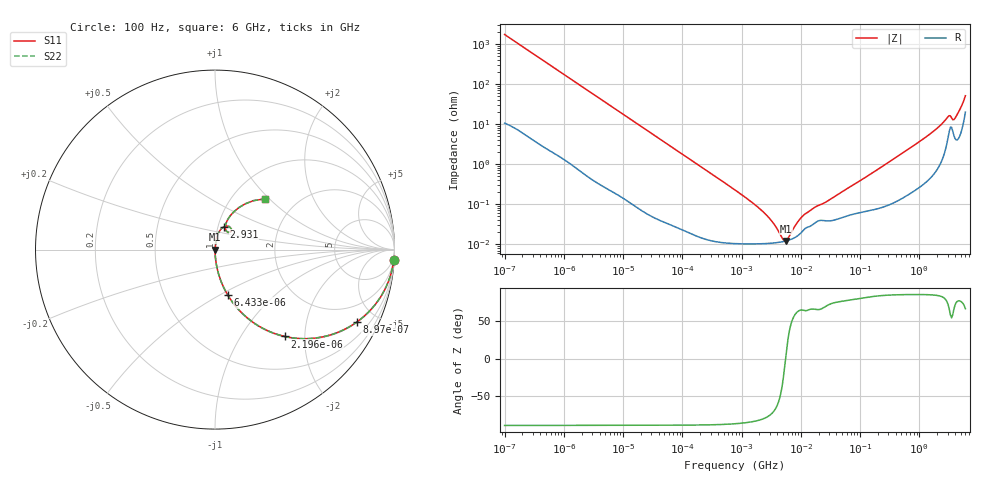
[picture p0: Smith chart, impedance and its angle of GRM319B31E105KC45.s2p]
!Murata Part Number: GRM319B31E105KC45
!These Parameters are Measured in Series Mode Connection
!Data Generated on Mar 30, 2021
!  o--ll--o
!Port1  Port2
!  o------o
!Operation Temp=25[degC], DC Bias Voltage=0[V]
!Freq. Start=100[Hz] Stop=6[GHz] 401[Steps]
# Hz S RI R 50
!Freq.(Hz) S11(Real) S11(Imag) S21(Real) S21(Imag) S12(Real) S12(Imag) S22(Real) S22(Imag)
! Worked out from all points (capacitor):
!   401 points, 100 Hz to 6 GHz, reference 50 ohm
!   read as one part in series: C = 922 nF near 109 Hz
!   lowest |Z| = 12.1 mohm at 5.555 MHz (marker M1)
!   series resonance near 5.528 MHz, so ESL is about 900 pH
!   S11 on the Smith chart (normalised r, x): 100 Hz: 1, -34; 897 Hz: 1.03, -3.88; 2.196 kHz: 1.01, -1.59; 6.433 kHz: 1.00, -0.55; 2.931 GHz: 1.07, +0.28; 6 GHz: 1.40, +0.94
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100  0.9963 -0.0578  0.00371 0.0578  0.00371 0.0578  0.9963 -0.0578
401  0.948 -0.2186  0.052 0.2186  0.052 0.2186  0.948 -0.2186
897  0.7885 -0.4047  0.2115 0.4047  0.2115 0.4047  0.7885 -0.4047
2008  0.4316 -0.4917  0.5684 0.4917  0.5684 0.4917  0.4316 -0.4917
2196  0.3888 -0.4839  0.6112 0.4839  0.6112 0.4839  0.3888 -0.4839
3759  0.1803 -0.3809  0.8197 0.3809  0.8197 0.3809  0.1803 -0.3809
6433  0.0711 -0.2531  0.9289 0.2531  0.9289 0.2531  0.0711 -0.2531
14402  0.0157 -0.1204  0.9843 0.1204  0.9843 0.1204  0.0157 -0.1204
40335  0.00233 -0.0438  0.9977 0.0438  0.9977 0.0438  0.00233 -0.0438
774597  0.000109 -0.00227  0.9999 0.00227  0.9999 0.00227  0.000109 -0.00227
2481164  0.000105 -0.000577  0.9999 0.000577  0.9999 0.000577  0.000105 -0.000577
3549919  0.000108 -0.000297  0.9999 0.000297  0.9999 0.000297  0.000108 -0.000297
4856642  0.000116 -8.44e-05  0.9999 8.44e-05  0.9999 8.44e-05  0.000116 -8.44e-05
5554849  0.000121 3.2e-06  0.9999 -3.2e-06  0.9999 -3.2e-06  0.000121 3.2e-06
9941735  0.00019 0.000406  0.9998 -0.000406  0.9998 -0.000406  0.00019 0.000406
1.555665e7  0.000303 0.000696  0.9997 -0.000696  0.9997 -0.000696  0.000303 0.000696
3.124326e8  0.0011 0.0114  0.9989 -0.0114  0.9989 -0.0114  0.0011 0.0114
1.431855e9  0.00678 0.0524  0.9932 -0.0524  0.9932 -0.0524  0.00678 0.0524
2.931063e9  0.0493 0.1267  0.9507 -0.1267  0.9507 -0.1267  0.0493 0.1267
4.009986e9  0.0572 0.1202  0.9428 -0.1202  0.9428 -0.1202  0.0572 0.1202
4.796499e9  0.0874 0.1917  0.9126 -0.1917  0.9126 -0.1917  0.0874 0.1917
6e9  0.2769 0.2828  0.7231 -0.2828  0.7231 -0.2828  0.2769 0.2828
